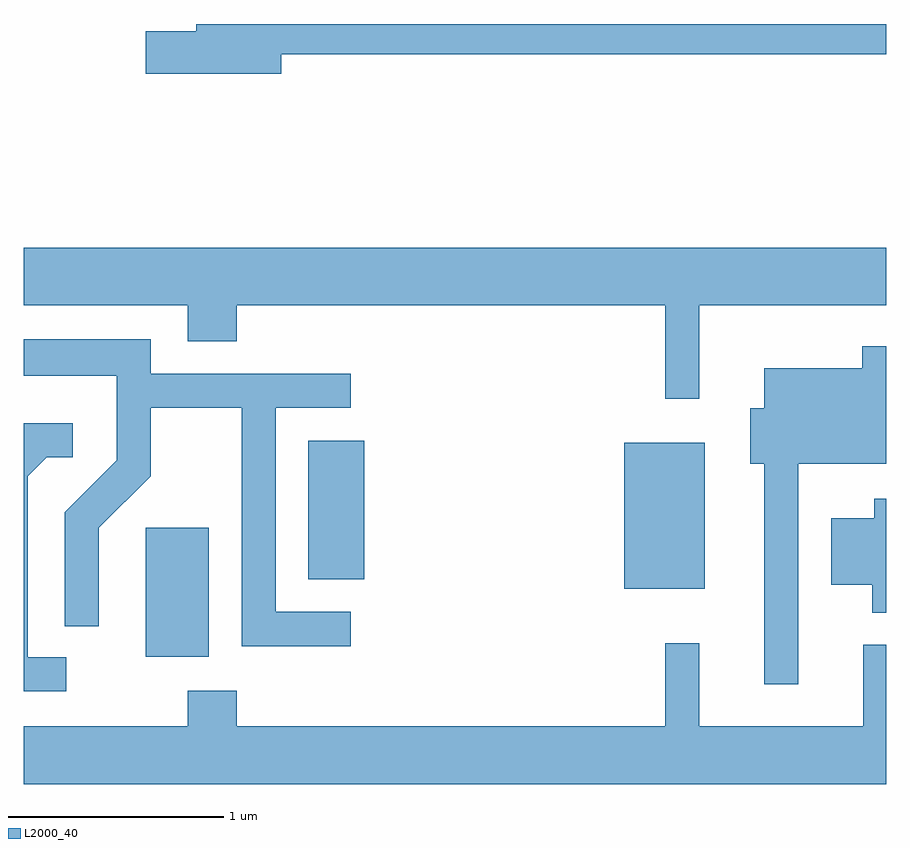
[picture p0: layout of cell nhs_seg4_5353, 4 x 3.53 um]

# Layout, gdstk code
import gdstk
lib = gdstk.Library(unit=1e-6, precision=1e-09)
def R(c, l, rs):  # rectangles x0, y0, x1, y1
    for r in rs: c.add(gdstk.rectangle(r[:2], r[2:], *l))
def P(c, l, *ps):  # polygons
    for p in ps: c.add(gdstk.Polygon(p, *l))
L2000_40 = (2000, 40)

nhs_seg4_5353 = lib.new_cell('nhs_seg4_5353')
R(nhs_seg4_5353, L2000_40, [(342.176,1353.046,342.469,1353.644), (344.396,1353.361,344.769,1354.039), (342.931,1353.406,343.189,1354.049)])
P(nhs_seg4_5353, L2000_40, [(342.804,1355.841),(345.611,1355.841),(345.611,1355.982),(342.411,1355.982),(342.411,1355.949),(342.176,1355.949),(342.176,1355.751),(342.804,1355.751)],
  [(341.611,1354.676),(342.371,1354.676),(342.371,1354.511),(342.599,1354.511),(342.599,1354.676),(344.586,1354.676),(344.586,1354.243),(344.744,1354.243),(344.744,1354.676),(345.611,1354.676),(345.611,1354.944),(341.611,1354.944)],
  [(343.128,1353.254),(342.779,1353.254),(342.779,1354.201),(343.128,1354.201),(343.128,1354.359),(342.199,1354.359),(342.199,1354.519),(341.611,1354.519),(341.611,1354.351),(342.041,1354.351),(342.041,1353.957),(341.801,1353.717),(341.801,1353.188),(341.959,1353.188),(341.959,1353.644),(342.199,1353.884),(342.199,1354.201),(342.621,1354.201),(342.621,1353.096),(343.128,1353.096)],
  [(345.204,1353.941),(345.611,1353.941),(345.611,1354.488),(345.501,1354.488),(345.501,1354.384),(345.046,1354.384),(345.046,1354.199),(344.981,1354.199),(344.981,1353.941),(345.046,1353.941),(345.046,1352.918),(345.204,1352.918)],
  [(341.808,1353.044),(341.629,1353.044),(341.629,1353.884),(341.717,1353.971),(341.838,1353.971),(341.838,1354.129),(341.611,1354.129),(341.611,1352.886),(341.808,1352.886)],
  [(345.611,1353.779),(345.556,1353.779),(345.556,1353.689),(345.356,1353.689),(345.356,1353.381),(345.546,1353.381),(345.546,1353.251),(345.611,1353.251)],
  [(345.611,1353.103),(345.506,1353.103),(345.506,1352.724),(344.744,1352.724),(344.744,1353.108),(344.586,1353.108),(344.586,1352.724),(342.599,1352.724),(342.599,1352.889),(342.371,1352.889),(342.371,1352.724),(341.611,1352.724),(341.611,1352.456),(345.611,1352.456)])

lib.write_gds('nhs_seg4_5353.gds')
